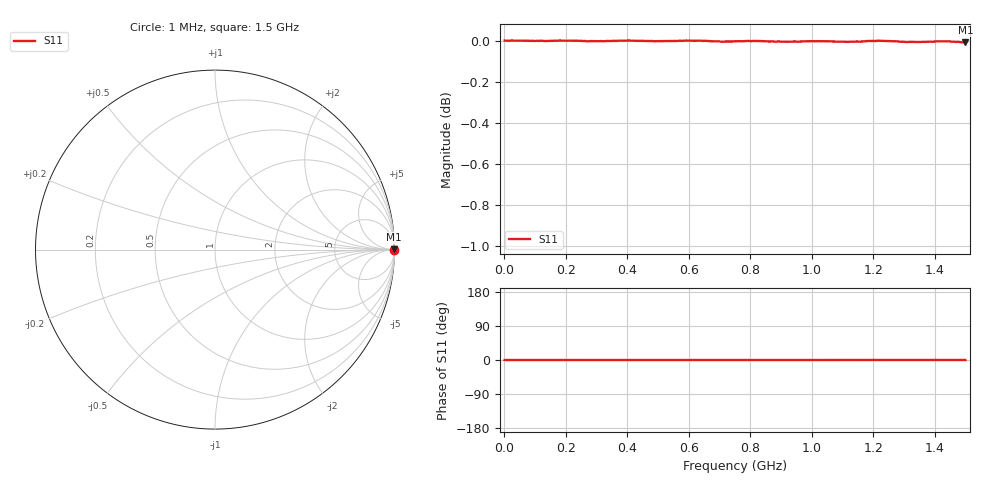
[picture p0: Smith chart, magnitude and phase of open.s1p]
! Created with skrf 1.8.0 (http://scikit-rf.org).
# Hz S RI R 50.0
!freq ReS11 ImS11
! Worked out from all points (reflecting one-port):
!   201 points, 1 MHz to 1.5 GHz, reference 50 ohm
!   lowest |S11| = 0.0 dB at 1.5 GHz (marker M1)
!   phase of S11 starts at -0 deg and turns +0 deg over the sweep
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1000000  1 -0.000102
9.094e7  0.9999 -0.00017
1.58395e8  0.9999 0.00033
1.88375e8  1 0.000279
2.33345e8  0.9999 7.03e-05
2.7082e8  0.9996 -5.46e-05
2.78315e8  0.9997 -0.000129
3.23285e8  0.9996 0.000208
3.7575e8  1 0.000558
4.13225e8  1 0.000648
4.88175e8  0.9996 0.000276
5.63125e8  0.9998 0.000529
5.93105e8  1 0.000589
6.38075e8  1 0.000622
7.13025e8  0.9994 0.000453
7.505e8  0.9996 0.00046
8.32945e8  0.9998 7.18e-05
8.77915e8  0.9994 -0.000256
9.37875e8  0.9995 -0.000142
1.02032e9  0.9997 0.000276
1.072785e9  0.9995 -0.000101
1.12525e9  0.9994 8.05e-05
1.15523e9  0.9994 0.000454
1.21519e9  0.9999 0.00103
1.312625e9  0.9992 0.00126
1.41006e9  0.9995 0.00183
1.447535e9  0.9996 0.00175
1.5e9  0.999 0.00126
